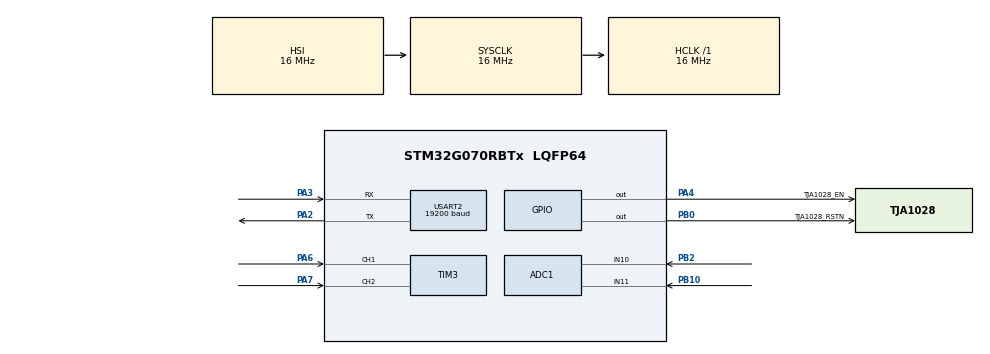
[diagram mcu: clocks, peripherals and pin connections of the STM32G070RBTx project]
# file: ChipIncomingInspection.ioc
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ADC1.Channel-0\#ChannelRegularConversion=ADC_CHANNEL_10
ADC1.Channel-1\#ChannelRegularConversion=ADC_CHANNEL_11
ADC1.ClockPrescaler=ADC_CLOCK_SYNC_PCLK_DIV4
ADC1.ContinuousConvMode=ENABLE
ADC1.NbrOfConversion=2
ADC1.NbrOfConversionFlag=1
ADC1.Rank-0\#ChannelRegularConversion=1
ADC1.Rank-1\#ChannelRegularConversion=2
ADC1.SamplingTime-0\#ChannelRegularConversion=ADC_SAMPLINGTIME_COMMON_1
ADC1.SamplingTime-1\#ChannelRegularConversion=ADC_SAMPLINGTIME_COMMON_1
ADC1.SamplingTimeCommon1=ADC_SAMPLETIME_7CYCLES_5
ADC1.SamplingTimeCommon2=ADC_SAMPLETIME_7CYCLES_5
ADC1.SelectedChannel=ADC_CHANNEL_10|ADC_CHANNEL_11
ADC1.master=1
Dma.ADC1.0.Direction=DMA_PERIPH_TO_MEMORY
Dma.ADC1.0.EventEnable=DISABLE
Dma.ADC1.0.Instance=DMA1_Channel1
Dma.ADC1.0.MemDataAlignment=DMA_MDATAALIGN_HALFWORD
Dma.ADC1.0.MemInc=DMA_MINC_ENABLE
Dma.ADC1.0.Mode=DMA_NORMAL
Dma.ADC1.0.PeriphDataAlignment=DMA_PDATAALIGN_HALFWORD
Dma.ADC1.0.PeriphInc=DMA_PINC_DISABLE
Dma.ADC1.0.Polarity=HAL_DMAMUX_REQ_GEN_RISING
Dma.ADC1.0.Priority=DMA_PRIORITY_LOW
Dma.ADC1.0.RequestNumber=1
Dma.ADC1.0.SignalID=NONE
Dma.ADC1.0.SyncEnable=DISABLE
Dma.ADC1.0.SyncPolarity=HAL_DMAMUX_SYNC_NO_EVENT
Dma.ADC1.0.SyncRequestNumber=1
Dma.ADC1.0.SyncSignalID=NONE
Dma.Request0=ADC1
Mcu.Family=STM32G0
Mcu.Name=STM32G070RBTx
Mcu.Package=LQFP64
NVIC.DMA1_Channel1_IRQn=true\:0\:0\:false\:false\:true\:false\:true\:true
NVIC.USART2_IRQn=true\:0\:0\:false\:false\:true\:true\:true\:true
PA13.Mode=Serial_Wire
PA13.Signal=SYS_SWDIO
PA14-BOOT0.Mode=Serial_Wire
PA14-BOOT0.Signal=SYS_SWCLK
PA2.Mode=LIN
PA2.Signal=USART2_TX
PA3.Mode=LIN
PA3.Signal=USART2_RX
PA4.GPIO_Label=TJA1028_EN
PA4.Signal=GPIO_Output
PA6.GPIO_Speed=GPIO_SPEED_FREQ_VERY_HIGH
PA6.Signal=S_TIM3_CH1
PA7.GPIO_Speed=GPIO_SPEED_FREQ_VERY_HIGH
PA7.Signal=S_TIM3_CH2
PB0.GPIO_Label=TJA1028_RSTN
PB0.Signal=GPIO_Output
PB10.Mode=IN11
PB10.Signal=ADC1_IN11
PB2.Mode=IN10
PB2.Signal=ADC1_IN10
ProjectManager.HeapSize=0x200
ProjectManager.StackSize=0x400
ProjectManager.TargetToolchain=STM32CubeIDE
RCC.AHBFreq_Value=16000000
RCC.CortexFreq_Value=16000000
RCC.EXTERNAL_CLOCK_VALUE=48000
RCC.HCLKFreq_Value=16000000
RCC.HSE_VALUE=8000000
RCC.HSI_VALUE=16000000
RCC.LSE_VALUE=32768
RCC.SYSCLKFreq_VALUE=16000000
RCC.VCOOutputFreq_Value=128000000
SH.S_TIM3_CH1.0=TIM3_CH1,Encoder_Interface
SH.S_TIM3_CH2.0=TIM3_CH2,Encoder_Interface
TIM3.AutoReloadPreload=TIM_AUTORELOAD_PRELOAD_ENABLE
TIM3.EncoderMode=TIM_ENCODERMODE_TI12
USART2.BaudRate=19200
USART2.VirtualMode-LIN=VM_LIN
VP_SYS_VS_DBSignals.Mode=DisableDeadBatterySignals
board=custom

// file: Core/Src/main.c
/* USER CODE BEGIN Header */
/**
  ******************************************************************************
  * @file           : main.c
  * @brief          : Main program body
  ******************************************************************************
  * @attention
  *
  * Copyright (c) 2023 STMicroelectronics.
  * All rights reserved.
  *
  * This software is licensed under terms that can be found in the LICENSE file
  * in the root directory of this software component.
  * If no LICENSE file comes with this software, it is provided AS-IS.
  *
  ******************************************************************************
  */
/* USER CODE END Header */
#include "main.h"
#include "adc.h"
#include "dma.h"
#include "tim.h"
#include "usart.h"
#include "gpio.h"

/* USER CODE BEGIN Includes */
#include "LIN.h"
/* USER CODE END Includes */

void SystemClock_Config(void);
/* USER CODE BEGIN PFP */
void Util_Receive_IT(UART_HandleTypeDef *huart);
/* USER CODE END PFP */

int main(void)
{

  /* MCU Configuration--------------------------------------------------------*/

  /* Reset of all peripherals, Initializes the Flash interface and the Systick. */
  HAL_Init();

  /* Configure the system clock */
  SystemClock_Config();

  /* Initialize all configured peripherals */
  MX_GPIO_Init();
  MX_DMA_Init();
  MX_ADC1_Init();
  MX_TIM3_Init();
  MX_USART2_UART_Init();
  /* USER CODE BEGIN 2 */
  //开启中断接收
  Util_Receive_IT(&huart2);
  //使能编码器模式
  HAL_TIM_Encoder_Start(&htim3,TIM_CHANNEL_1);
  HAL_TIM_Encoder_Start(&htim3,TIM_CHANNEL_2);
  //使能TJA1028LIN芯片的EN
  HAL_GPIO_WritePin(TJA1028_EN_GPIO_Port,TJA1028_EN_Pin,GPIO_PIN_SET);
  //使能TJA1028LIN芯片的RSTN
  HAL_GPIO_WritePin(TJA1028_RSTN_GPIO_Port,TJA1028_RSTN_Pin,GPIO_PIN_SET);
  /* USER CODE END 2 */

  /* Infinite loop */
  while (1)
  {
        //循环发送数据
        Send_LIN_Data();
  }
}

void SystemClock_Config(void)
{
  RCC_OscInitTypeDef RCC_OscInitStruct = {0};
  RCC_ClkInitTypeDef RCC_ClkInitStruct = {0};

  /** Configure the main internal regulator output voltage
  */
  HAL_PWREx_ControlVoltageScaling(PWR_REGULATOR_VOLTAGE_SCALE1);

  /** Initializes the RCC Oscillators according to the specified parameters
  * in the RCC_OscInitTypeDef structure.
  */
  RCC_OscInitStruct.OscillatorType = RCC_OSCILLATORTYPE_HSI;
  RCC_OscInitStruct.HSIState = RCC_HSI_ON;
  RCC_OscInitStruct.HSIDiv = RCC_HSI_DIV1;
  RCC_OscInitStruct.HSICalibrationValue = RCC_HSICALIBRATION_DEFAULT;
  RCC_OscInitStruct.PLL.PLLState = RCC_PLL_NONE;
  if (HAL_RCC_OscConfig(&RCC_OscInitStruct) != HAL_OK)
  {
    Error_Handler();
  }

  /** Initializes the CPU, AHB and APB buses clocks
  */
  RCC_ClkInitStruct.ClockType = RCC_CLOCKTYPE_HCLK|RCC_CLOCKTYPE_SYSCLK
                              |RCC_CLOCKTYPE_PCLK1;
  RCC_ClkInitStruct.SYSCLKSource = RCC_SYSCLKSOURCE_HSI;
  RCC_ClkInitStruct.AHBCLKDivider = RCC_SYSCLK_DIV1;
  RCC_ClkInitStruct.APB1CLKDivider = RCC_HCLK_DIV1;

  if (HAL_RCC_ClockConfig(&RCC_ClkInitStruct, FLASH_LATENCY_0) != HAL_OK)
  {
    Error_Handler();
  }
}

/* USER CODE BEGIN 4 */
/**
 * 重写接收中断函数
 */
void Util_Receive_IT(UART_HandleTypeDef *huart)
{
    if(huart == &huart2)
    {
        if(HAL_UART_Receive_IT(huart, pLINRxBuff, LIN_RX_MAXSIZE) != HAL_OK)
        {
            Error_Handler();
        }
    }
}

/**
 * 接收完成中断函数，用以在一帧数据接收完成时，对数据进行处理
 *
 * @brief Rx Transfer completed callback.
 * @param huart UART handle.
 * @retval None
 */
void HAL_UART_RxCpltCallback(UART_HandleTypeDef *huart)
{
    //LIN协议
    if(huart == &huart2)
    {
        //测试代码
        //HAL_UART_Transmit(&huart3, pLINRxBuff, LIN_RX_MAXSIZE, HAL_MAX_DELAY);
        LIN_Data_Process();
        //HAL_UART_AbortReceive(&huart2);
    }
    Util_Receive_IT(huart);
}

/**
 * 重写UART错误中断处理程序，重新开启USART中断
 *
 * @brief UART error callback.
 * @param huart UART handle.
 * @retval None
 */
void HAL_UART_ErrorCallback(UART_HandleTypeDef *huart)
{
    /* Prevent unused argument(s) compilation warning */
    //解决串口溢出，导致不断进入串口中断函数，使MCU过载的问题
    if(HAL_UART_GetError(huart) & HAL_UART_ERROR_ORE)
    {
        //清除ORE标志位
        __HAL_UART_FLUSH_DRREGISTER(huart);
        Util_Receive_IT(huart);
        huart->ErrorCode = HAL_UART_ERROR_NONE;
    }
}
/* USER CODE END 4 */

void Error_Handler(void)
{
  __disable_irq();
  while (1)
  {
  }
}
